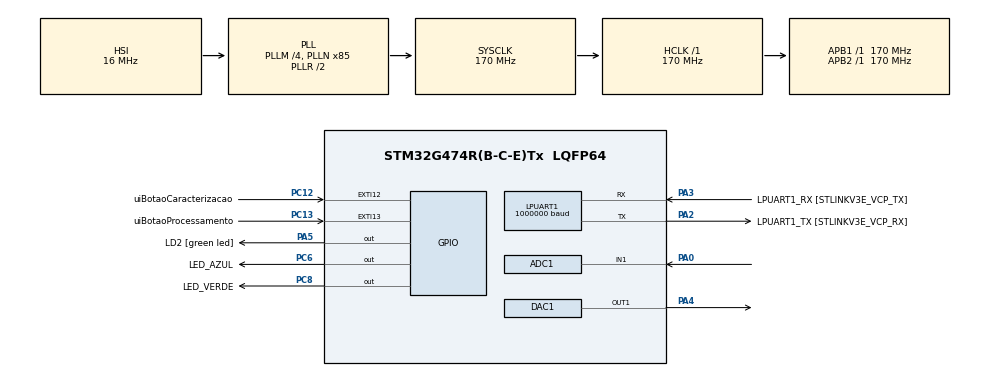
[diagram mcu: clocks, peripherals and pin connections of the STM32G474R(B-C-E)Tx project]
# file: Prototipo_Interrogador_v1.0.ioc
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ADC1.Channel-0\#ChannelRegularConversion=ADC_CHANNEL_1
ADC1.NbrOfConversionFlag=1
ADC1.OffsetNumber-0\#ChannelRegularConversion=ADC_OFFSET_NONE
ADC1.Rank-0\#ChannelRegularConversion=1
ADC1.SamplingTime-0\#ChannelRegularConversion=ADC_SAMPLETIME_2CYCLES_5
ADC1.master=1
DAC1.DAC_HighFrequency_OUT1-DAC_OUT1_ExtAndInt=DAC_HIGH_FREQUENCY_INTERFACE_MODE_DISABLE
FREERTOS.Queues01=filaVarredura,10,DADOS_VARREDURA_OBJ_t,0,Dynamic,NULL,NULL;filaValorInterrogado,10,VALOR_INTERROGADO_OBJ_t,0,Dynamic,NULL,NULL;filaCaracterizacao,10,DADOS_VARREDURA_OBJ_t,0,Dynamic,NULL,NULL
FREERTOS.Tasks01=calculoComprimentoOndaBragg,40,1024,startCalculoComprimentoOndaBragg,Default,NULL,Dynamic,NULL,NULL;caracterizacaoDoEspectro,41,1024,startCaracterizacaoDoEspectro,Default,NULL,Dynamic,NULL,NULL;transmissaoDeDadosPC,24,1024,startTransmissaoDeDadosPC,Default,NULL,Dynamic,NULL,NULL
FREERTOS.configMAX_TASK_NAME_LEN=32
FREERTOS.configTOTAL_HEAP_SIZE=65536
LPUART1.BaudRate=1000000
LPUART1.WordLength=UART_WORDLENGTH_8B
Mcu.Family=STM32G4
Mcu.Name=STM32G474R(B-C-E)Tx
Mcu.Package=LQFP64
NVIC.EXTI15_10_IRQn=true\:6\:0\:true\:false\:true\:false\:true\:true
NVIC.PriorityGroup=NVIC_PRIORITYGROUP_4
NVIC.TIM1_UP_TIM16_IRQn=true\:5\:0\:true\:false\:true\:true\:true\:true
NVIC.TIM7_DAC_IRQn=true\:0\:0\:false\:false\:true\:false\:false\:true
NVIC.TimeBase=TIM7_DAC_IRQn
NVIC.TimeBaseIP=TIM7
PA0.Mode=IN1-Single-Ended
PA0.Signal=ADC1_IN1
PA13.GPIO_Label=T_SWDIO
PA13.Mode=Serial_Wire
PA13.Signal=SYS_JTMS-SWDIO
PA14.GPIO_Label=T_SWCLK
PA14.Mode=Serial_Wire
PA14.Signal=SYS_JTCK-SWCLK
PA2.GPIO_Label=LPUART1_TX [STLINKV3E_VCP_RX]
PA2.Mode=Asynchronous
PA2.Signal=LPUART1_TX
PA3.GPIO_Label=LPUART1_RX [STLINKV3E_VCP_TX]
PA3.Mode=Asynchronous
PA3.Signal=LPUART1_RX
PA4.Signal=COMP_DAC11_group
PA5.GPIO_Label=LD2 [green led]
PA5.Signal=GPIO_Output
PB3.GPIO_Label=T_SWO
PB3.Signal=SYS_JTDO-SWO
PC12.GPIO_Label=uiBotaoCaracterizacao
PC12.Signal=GPXTI12
PC13.GPIO_Label=uiBotaoProcessamento
PC13.Signal=GPXTI13
PC14-OSC32_IN.Mode=LSE-External-Oscillator
PC14-OSC32_IN.Signal=RCC_OSC32_IN
PC15-OSC32_OUT.Mode=LSE-External-Oscillator
PC15-OSC32_OUT.Signal=RCC_OSC32_OUT
PC6.GPIO_Label=LED_AZUL
PC6.Signal=GPIO_Output
PC8.GPIO_Label=LED_VERDE
PC8.Signal=GPIO_Output
PF0-OSC_IN.Mode=HSE-External-Oscillator
PF0-OSC_IN.Signal=RCC_OSC_IN
PF1-OSC_OUT.Mode=HSE-External-Oscillator
PF1-OSC_OUT.Signal=RCC_OSC_OUT
ProjectManager.HeapSize=0x200
ProjectManager.StackSize=0x400
ProjectManager.TargetToolchain=STM32CubeIDE
RCC.ADC12Freq_Value=170000000
RCC.ADC345Freq_Value=170000000
RCC.AHBFreq_Value=170000000
RCC.APB1Freq_Value=170000000
RCC.APB1TimFreq_Value=170000000
RCC.APB2Freq_Value=170000000
RCC.APB2TimFreq_Value=170000000
RCC.CortexFreq_Value=170000000
RCC.EXTERNAL_CLOCK_VALUE=12288000
RCC.HCLKFreq_Value=170000000
RCC.HSE_VALUE=24000000
RCC.HSI48_VALUE=48000000
RCC.HSI_VALUE=16000000
RCC.PLLM=RCC_PLLM_DIV4
RCC.PLLN=85
RCC.RTCClockSelection=RCC_RTCCLKSOURCE_LSE
RCC.SYSCLKFreq_VALUE=170000000
RCC.SYSCLKSource=RCC_SYSCLKSOURCE_PLLCLK
RCC.USBFreq_Value=170000000
RCC.VCOOutputFreq_Value=340000000
SH.COMP_DAC11_group.0=DAC1_OUT1,DAC_OUT1_ExtAndInt
TIM16.PeriodNoDither=10000-1
TIM16.Prescaler=17000-1
TIM17.PeriodNoDither=0xffff-1
TIM17.Prescaler=170-1
VP_FREERTOS_VS_CMSIS_V2.Mode=CMSIS_V2
VP_SYS_VS_DBSignals.Mode=DisableDeadBatterySignals
VP_SYS_VS_tim7.Mode=TIM7
VP_TIM16_VS_ClockSourceINT.Mode=Enable_Timer
VP_TIM17_VS_ClockSourceINT.Mode=Enable_Timer
board=NUCLEO-G474RE

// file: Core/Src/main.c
/* USER CODE BEGIN Header */
/**
  ******************************************************************************
  * @file           : main.c
  * @brief          : Main program body
  ******************************************************************************
  * @attention
  *
  * <h2><center>&copy; Copyright (c) 2020 STMicroelectronics.
  * All rights reserved.</center></h2>
  *
  * This software component is licensed by ST under BSD 3-Clause license,
  * the "License"; You may not use this file except in compliance with the
  * License. You may obtain a copy of the License at:
  *                        opensource.org/licenses/BSD-3-Clause
  *
  ******************************************************************************
  */
/* USER CODE END Header */
#include "main.h"
#include "cmsis_os.h"

/* USER CODE BEGIN Includes */
#include <string.h>
#include <stdio.h>
/* USER CODE END Includes */

/* USER CODE BEGIN PD */
#define OPERACAO_SENSORIAMENTO 0x00001
#define OPERACAO_CARACTERIZACAO 0x00002
#define INICIA_VARREDURA 0x00003
#define RESOLUCAO_DAC 4096
#define TAM_MSG 20
#define DELAY_MICROSECONDS 100
#define FLAG_PRIMEIRA_AMOSTRA 9000
#define LIMIAR_POTENCIA_NULA 682
#define TAM_ARRAY_AMOSTRAS 400

#define TAM_X 65
#define TAM_Y 129
//#define DELAY_MICROSECONDS 25
/* USER CODE END PD */

ADC_HandleTypeDef hadc1;

DAC_HandleTypeDef hdac1;

UART_HandleTypeDef hlpuart1;

TIM_HandleTypeDef htim16;
TIM_HandleTypeDef htim17;

/* Definitions for calculoComprimentoOndaBragg */
osThreadId_t calculoComprimentoOndaBraggHandle;
const osThreadAttr_t calculoComprimentoOndaBragg_attributes = {
  .name = "calculoComprimentoOndaBragg",
  .priority = (osPriority_t) osPriorityHigh,
  .stack_size = 1024 * 4
};
/* Definitions for caracterizacaoDoEspectro */
osThreadId_t caracterizacaoDoEspectroHandle;
const osThreadAttr_t caracterizacaoDoEspectro_attributes = {
  .name = "caracterizacaoDoEspectro",
  .priority = (osPriority_t) osPriorityHigh1,
  .stack_size = 1024 * 4
};
/* Definitions for transmissaoDeDadosPC */
osThreadId_t transmissaoDeDadosPCHandle;
const osThreadAttr_t transmissaoDeDadosPC_attributes = {
  .name = "transmissaoDeDadosPC",
  .priority = (osPriority_t) osPriorityNormal,
  .stack_size = 1024 * 4
};
/* Definitions for filaVarredura */
osMessageQueueId_t filaVarreduraHandle;
const osMessageQueueAttr_t filaVarredura_attributes = {
  .name = "filaVarredura"
};
/* Definitions for filaValorInterrogado */
osMessageQueueId_t filaValorInterrogadoHandle;
const osMessageQueueAttr_t filaValorInterrogado_attributes = {
  .name = "filaValorInterrogado"
};
/* Definitions for filaCaracterizacao */
osMessageQueueId_t filaCaracterizacaoHandle;
const osMessageQueueAttr_t filaCaracterizacao_attributes = {
  .name = "filaCaracterizacao"
};
/* USER CODE BEGIN PV */
/* Declara o objeto RTOS sinalEventFlag */
osEventFlagsId_t sinalEventFlag;

typedef struct {
  char cSentidoVarredura;
  uint16_t uiIndicePrimeiraAmostra, uiNumAmostrasColetadas, uiArrayAmostras[TAM_ARRAY_AMOSTRAS];
} DADOS_VARREDURA_OBJ_t;

typedef struct {
  char cSentidoVarredura;
  uint16_t uiValorInterrogado;
} VALOR_INTERROGADO_OBJ_t;
/* USER CODE END PV */

void SystemClock_Config(void);
static void MX_GPIO_Init(void);
static void MX_LPUART1_UART_Init(void);
static void MX_TIM16_Init(void);
static void MX_ADC1_Init(void);
static void MX_DAC1_Init(void);
static void MX_TIM17_Init(void);
void startCalculoComprimentoOndaBragg(void *argument);
void startCaracterizacaoDoEspectro(void *argument);
void startTransmissaoDeDadosPC(void *argument);

int main(void)
{

  /* MCU Configuration--------------------------------------------------------*/

  /* Reset of all peripherals, Initializes the Flash interface and the Systick. */
  HAL_Init();

  /* Configure the system clock */
  SystemClock_Config();

  /* Initialize all configured peripherals */
  MX_GPIO_Init();
  MX_LPUART1_UART_Init();
  MX_TIM16_Init();
  MX_ADC1_Init();
  MX_DAC1_Init();
  MX_TIM17_Init();
  /* USER CODE BEGIN 2 */

  //Inicia timer 16
  HAL_TIM_Base_Start_IT(&htim16);

  /* USER CODE END 2 */

  /* Init scheduler */
  osKernelInitialize();

  /* Create the queue(s) */
  /* creation of filaVarredura */
  filaVarreduraHandle = osMessageQueueNew (10, sizeof(DADOS_VARREDURA_OBJ_t), &filaVarredura_attributes);

  /* creation of filaValorInterrogado */
  filaValorInterrogadoHandle = osMessageQueueNew (10, sizeof(VALOR_INTERROGADO_OBJ_t), &filaValorInterrogado_attributes);

  /* creation of filaCaracterizacao */
  filaCaracterizacaoHandle = osMessageQueueNew (10, sizeof(DADOS_VARREDURA_OBJ_t), &filaCaracterizacao_attributes);

  /* Create the thread(s) */
  /* creation of calculoComprimentoOndaBragg */
  calculoComprimentoOndaBraggHandle = osThreadNew(startCalculoComprimentoOndaBragg, NULL, &calculoComprimentoOndaBragg_attributes);

  /* creation of caracterizacaoDoEspectro */
  caracterizacaoDoEspectroHandle = osThreadNew(startCaracterizacaoDoEspectro, NULL, &caracterizacaoDoEspectro_attributes);

  /* creation of transmissaoDeDadosPC */
  transmissaoDeDadosPCHandle = osThreadNew(startTransmissaoDeDadosPC, NULL, &transmissaoDeDadosPC_attributes);

  /* USER CODE BEGIN RTOS_THREADS */
  /* add threads, ... */
  /* Inicializa o objeto RTOS Event Flag*/
  sinalEventFlag = osEventFlagsNew(NULL);
  /* USER CODE END RTOS_THREADS */

  /* Start scheduler */
  osKernelStart();

  /* We should never get here as control is now taken by the scheduler */
  /* Infinite loop */
  while (1)
  {

  }
}

void SystemClock_Config(void)
{
  RCC_OscInitTypeDef RCC_OscInitStruct = {0};
  RCC_ClkInitTypeDef RCC_ClkInitStruct = {0};
  RCC_PeriphCLKInitTypeDef PeriphClkInit = {0};

  /** Configure the main internal regulator output voltage
  */
  HAL_PWREx_ControlVoltageScaling(PWR_REGULATOR_VOLTAGE_SCALE1_BOOST);
  /** Initializes the RCC Oscillators according to the specified parameters
  * in the RCC_OscInitTypeDef structure.
  */
  RCC_OscInitStruct.OscillatorType = RCC_OSCILLATORTYPE_HSI;
  RCC_OscInitStruct.HSIState = RCC_HSI_ON;
  RCC_OscInitStruct.HSICalibrationValue = RCC_HSICALIBRATION_DEFAULT;
  RCC_OscInitStruct.PLL.PLLState = RCC_PLL_ON;
  RCC_OscInitStruct.PLL.PLLSource = RCC_PLLSOURCE_HSI;
  RCC_OscInitStruct.PLL.PLLM = RCC_PLLM_DIV4;
  RCC_OscInitStruct.PLL.PLLN = 85;
  RCC_OscInitStruct.PLL.PLLP = RCC_PLLP_DIV2;
  RCC_OscInitStruct.PLL.PLLQ = RCC_PLLQ_DIV2;
  RCC_OscInitStruct.PLL.PLLR = RCC_PLLR_DIV2;
  if (HAL_RCC_OscConfig(&RCC_OscInitStruct) != HAL_OK)
  {
    Error_Handler();
  }
  /** Initializes the CPU, AHB and APB buses clocks
  */
  RCC_ClkInitStruct.ClockType = RCC_CLOCKTYPE_HCLK|RCC_CLOCKTYPE_SYSCLK
                              |RCC_CLOCKTYPE_PCLK1|RCC_CLOCKTYPE_PCLK2;
  RCC_ClkInitStruct.SYSCLKSource = RCC_SYSCLKSOURCE_PLLCLK;
  RCC_ClkInitStruct.AHBCLKDivider = RCC_SYSCLK_DIV1;
  RCC_ClkInitStruct.APB1CLKDivider = RCC_HCLK_DIV1;
  RCC_ClkInitStruct.APB2CLKDivider = RCC_HCLK_DIV1;

  if (HAL_RCC_ClockConfig(&RCC_ClkInitStruct, FLASH_LATENCY_4) != HAL_OK)
  {
    Error_Handler();
  }
  /** Initializes the peripherals clocks
  */
  PeriphClkInit.PeriphClockSelection = RCC_PERIPHCLK_LPUART1|RCC_PERIPHCLK_ADC12;
  PeriphClkInit.Lpuart1ClockSelection = RCC_LPUART1CLKSOURCE_PCLK1;
  PeriphClkInit.Adc12ClockSelection = RCC_ADC12CLKSOURCE_SYSCLK;
  if (HAL_RCCEx_PeriphCLKConfig(&PeriphClkInit) != HAL_OK)
  {
    Error_Handler();
  }
}

static void MX_ADC1_Init(void)
{

  ADC_MultiModeTypeDef multimode = {0};
  ADC_ChannelConfTypeDef sConfig = {0};

  /** Common config
  */
  hadc1.Instance = ADC1;
  hadc1.Init.ClockPrescaler = ADC_CLOCK_SYNC_PCLK_DIV4;
  hadc1.Init.Resolution = ADC_RESOLUTION_12B;
  hadc1.Init.DataAlign = ADC_DATAALIGN_RIGHT;
  hadc1.Init.GainCompensation = 0;
  hadc1.Init.ScanConvMode = ADC_SCAN_DISABLE;
  hadc1.Init.EOCSelection = ADC_EOC_SINGLE_CONV;
  hadc1.Init.LowPowerAutoWait = DISABLE;
  hadc1.Init.ContinuousConvMode = DISABLE;
  hadc1.Init.NbrOfConversion = 1;
  hadc1.Init.DiscontinuousConvMode = DISABLE;
  hadc1.Init.ExternalTrigConv = ADC_SOFTWARE_START;
  hadc1.Init.ExternalTrigConvEdge = ADC_EXTERNALTRIGCONVEDGE_NONE;
  hadc1.Init.DMAContinuousRequests = DISABLE;
  hadc1.Init.Overrun = ADC_OVR_DATA_PRESERVED;
  hadc1.Init.OversamplingMode = DISABLE;
  if (HAL_ADC_Init(&hadc1) != HAL_OK)
  {
    Error_Handler();
  }
  /** Configure the ADC multi-mode
  */
  multimode.Mode = ADC_MODE_INDEPENDENT;
  if (HAL_ADCEx_MultiModeConfigChannel(&hadc1, &multimode) != HAL_OK)
  {
    Error_Handler();
  }
  /** Configure Regular Channel
  */
  sConfig.Channel = ADC_CHANNEL_1;
  sConfig.Rank = ADC_REGULAR_RANK_1;
  sConfig.SamplingTime = ADC_SAMPLETIME_2CYCLES_5;
  sConfig.SingleDiff = ADC_SINGLE_ENDED;
  sConfig.OffsetNumber = ADC_OFFSET_NONE;
  sConfig.Offset = 0;
  if (HAL_ADC_ConfigChannel(&hadc1, &sConfig) != HAL_OK)
  {
    Error_Handler();
  }

}

static void MX_DAC1_Init(void)
{

  DAC_ChannelConfTypeDef sConfig = {0};

  /** DAC Initialization
  */
  hdac1.Instance = DAC1;
  if (HAL_DAC_Init(&hdac1) != HAL_OK)
  {
    Error_Handler();
  }
  /** DAC channel OUT1 config
  */
  sConfig.DAC_HighFrequency = DAC_HIGH_FREQUENCY_INTERFACE_MODE_DISABLE;
  sConfig.DAC_DMADoubleDataMode = DISABLE;
  sConfig.DAC_SignedFormat = DISABLE;
  sConfig.DAC_SampleAndHold = DAC_SAMPLEANDHOLD_DISABLE;
  sConfig.DAC_Trigger = DAC_TRIGGER_NONE;
  sConfig.DAC_Trigger2 = DAC_TRIGGER_NONE;
  sConfig.DAC_OutputBuffer = DAC_OUTPUTBUFFER_ENABLE;
  sConfig.DAC_ConnectOnChipPeripheral = DAC_CHIPCONNECT_BOTH;
  sConfig.DAC_UserTrimming = DAC_TRIMMING_FACTORY;
  if (HAL_DAC_ConfigChannel(&hdac1, &sConfig, DAC_CHANNEL_1) != HAL_OK)
  {
    Error_Handler();
  }

}

static void MX_LPUART1_UART_Init(void)
{

  hlpuart1.Instance = LPUART1;
  hlpuart1.Init.BaudRate = 1000000;
  hlpuart1.Init.WordLength = UART_WORDLENGTH_8B;
  hlpuart1.Init.StopBits = UART_STOPBITS_1;
  hlpuart1.Init.Parity = UART_PARITY_NONE;
  hlpuart1.Init.Mode = UART_MODE_TX_RX;
  hlpuart1.Init.HwFlowCtl = UART_HWCONTROL_NONE;
  hlpuart1.Init.OneBitSampling = UART_ONE_BIT_SAMPLE_DISABLE;
  hlpuart1.AdvancedInit.AdvFeatureInit = UART_ADVFEATURE_NO_INIT;
  if (HAL_UART_Init(&hlpuart1) != HAL_OK)
  {
    Error_Handler();
  }
  if (HAL_UARTEx_SetTxFifoThreshold(&hlpuart1, UART_TXFIFO_THRESHOLD_1_8) != HAL_OK)
  {
    Error_Handler();
  }
  if (HAL_UARTEx_SetRxFifoThreshold(&hlpuart1, UART_RXFIFO_THRESHOLD_1_8) != HAL_OK)
  {
    Error_Handler();
  }
  if (HAL_UARTEx_DisableFifoMode(&hlpuart1) != HAL_OK)
  {
    Error_Handler();
  }

}

static void MX_TIM16_Init(void)
{

  htim16.Instance = TIM16;
  htim16.Init.Prescaler = 17000-1;
  htim16.Init.CounterMode = TIM_COUNTERMODE_UP;
  htim16.Init.Period = 9999;
  htim16.Init.ClockDivision = TIM_CLOCKDIVISION_DIV1;
  htim16.Init.RepetitionCounter = 0;
  htim16.Init.AutoReloadPreload = TIM_AUTORELOAD_PRELOAD_DISABLE;
  if (HAL_TIM_Base_Init(&htim16) != HAL_OK)
  {
    Error_Handler();
  }

}

static void MX_TIM17_Init(void)
{

  htim17.Instance = TIM17;
  htim17.Init.Prescaler = 170-1;
  htim17.Init.CounterMode = TIM_COUNTERMODE_UP;
  htim17.Init.Period = 65534;
  htim17.Init.ClockDivision = TIM_CLOCKDIVISION_DIV1;
  htim17.Init.RepetitionCounter = 0;
  htim17.Init.AutoReloadPreload = TIM_AUTORELOAD_PRELOAD_DISABLE;
  if (HAL_TIM_Base_Init(&htim17) != HAL_OK)
  {
    Error_Handler();
  }

}

static void MX_GPIO_Init(void)
{
  GPIO_InitTypeDef GPIO_InitStruct = {0};

  /* GPIO Ports Clock Enable */
  __HAL_RCC_GPIOC_CLK_ENABLE();
  __HAL_RCC_GPIOF_CLK_ENABLE();
  __HAL_RCC_GPIOA_CLK_ENABLE();
  __HAL_RCC_GPIOB_CLK_ENABLE();

  /*Configure GPIO pin Output Level */
  HAL_GPIO_WritePin(LD2_GPIO_Port, LD2_Pin, GPIO_PIN_RESET);

  /*Configure GPIO pin Output Level */
  HAL_GPIO_WritePin(GPIOC, LED_AZUL_Pin|LED_VERDE_Pin, GPIO_PIN_RESET);

  /*Configure GPIO pins : uiBotaoProcessamento_Pin uiBotaoCaracterizacao_Pin */
  GPIO_InitStruct.Pin = uiBotaoProcessamento_Pin|uiBotaoCaracterizacao_Pin;
  GPIO_InitStruct.Mode = GPIO_MODE_IT_RISING;
  GPIO_InitStruct.Pull = GPIO_NOPULL;
  HAL_GPIO_Init(GPIOC, &GPIO_InitStruct);

  /*Configure GPIO pin : LD2_Pin */
  GPIO_InitStruct.Pin = LD2_Pin;
  GPIO_InitStruct.Mode = GPIO_MODE_OUTPUT_PP;
  GPIO_InitStruct.Pull = GPIO_NOPULL;
  GPIO_InitStruct.Speed = GPIO_SPEED_FREQ_LOW;
  HAL_GPIO_Init(LD2_GPIO_Port, &GPIO_InitStruct);

  /*Configure GPIO pins : LED_AZUL_Pin LED_VERDE_Pin */
  GPIO_InitStruct.Pin = LED_AZUL_Pin|LED_VERDE_Pin;
  GPIO_InitStruct.Mode = GPIO_MODE_OUTPUT_PP;
  GPIO_InitStruct.Pull = GPIO_NOPULL;
  GPIO_InitStruct.Speed = GPIO_SPEED_FREQ_LOW;
  HAL_GPIO_Init(GPIOC, &GPIO_InitStruct);

  /* EXTI interrupt init*/
  HAL_NVIC_SetPriority(EXTI15_10_IRQn, 6, 0);
  HAL_NVIC_EnableIRQ(EXTI15_10_IRQn);

}

/* USER CODE BEGIN 4 */
/* ******************************************************/
/* Nome da ISR: Seleção de operação do interrogador     */
/* Descrição da ISR:   Chamada de interrupção de GPIO   */
/*                     utilizada para selecionar as ta- */
/*                     refas de processamento ou carac- */
/*                     terização.                       */
/* Parâmetros de entrada: GPIO_Pin                      */
/* é o pino detectado pela interrupção externa do micro-*/
/* controlador.                                         */
/* Parâmetros de saída: não tem                         */
/* ******************************************************/
void HAL_GPIO_EXTI_Callback(uint16_t GPIO_Pin)
{
  if (uiBotaoProcessamento_Pin == GPIO_Pin)
  {
	HAL_GPIO_WritePin(GPIOC, LED_AZUL_Pin, GPIO_PIN_RESET);
	HAL_GPIO_WritePin(GPIOC, LED_VERDE_Pin, GPIO_PIN_SET);
	/*Limpa o Event Flag da operação de caracterização e coloca a tarefa startCaracterizacaoDoEspectro para dormir*/
    osEventFlagsClear(sinalEventFlag, OPERACAO_CARACTERIZACAO);
    /*Seta o Event Flag da operação de sensoriamento e acorda a tarefa startCalculoComprimentoOndaBragg*/
	osEventFlagsSet(sinalEventFlag, OPERACAO_SENSORIAMENTO);
  }
  else if (uiBotaoCaracterizacao_Pin == GPIO_Pin)
  {
	HAL_GPIO_WritePin(GPIOC, LED_VERDE_Pin, GPIO_PIN_RESET);
	HAL_GPIO_WritePin(GPIOC, LED_AZUL_Pin, GPIO_PIN_SET);
	/*Limpa o Event Flag da operação de sensoriamento e coloca a tarefa startCalculoComprimentoOndaBragg para dormir*/
    osEventFlagsClear(sinalEventFlag, OPERACAO_SENSORIAMENTO);
    /*Seta o Event Flag da operação de caracterização e acorda a tarefa startCaracterizacaoDoEspectro*/
    osEventFlagsSet(sinalEventFlag, OPERACAO_CARACTERIZACAO);
  }
}
/* USER CODE END 4 */

/* USER CODE BEGIN Header_startCalculoComprimentoOndaBragg */
/* ******************************************************/
/* Nome da Tarefa: Cálculo do comprimento de onda de    */
/* Bragg												*/
/* Descrição da Tarefa: Recebe dado na Struct           */
/* DADOS_VARREDURA_OBJ_t via message queue, que contém  */
/* as amostras do sinal de potencia refletido, posição  */
/* da primeira amostra, número de amostras e sentido da */
/* varredura. Com esses dados rastreia o ponto de máxima*/
/* potência de reflexão e obtém o comprimento de onda da*/
/* fbg sensora.											*/
/* Parâmetros de entrada: Recebe via fila de mensagens  */
/* filaVarreduraHandle, os dados da rotina de           */
/* interrupção de varredura e os armazena na Struct     */
/* arrayVarredura                                       */
/* Parâmetros de saída: fila de mensagens dada por      */
/* filaValorInterrogadoHandle onde é carregada a Struct */
/* resultadoInterrogacao                                */
/* ******************************************************/
/* USER CODE END Header_startCalculoComprimentoOndaBragg */
void startCalculoComprimentoOndaBragg(void *argument)
{
  /* USER CODE BEGIN 5 */
  /*Declara Struct de dado que irá receber via fila de mensagens os dados da rotina de interrupção de varredura*/
  DADOS_VARREDURA_OBJ_t arrayVarredura;
  /*Declara Struct de dado que irá receber resultado da interrogação de comprimento de onda do Struct de varredura*/
  VALOR_INTERROGADO_OBJ_t resultadoInterrogacao;
  /*Declaração de variáveis auxiliares, uiDataMax será usado como valor máximo de referência e uiValorInterrogado como variável para capturar comprimento de onda máximo*/
  uint16_t uiDataMax, uiValorInterrogado;
  /*Variável que recebe situação da fila de mensagens para verificar se a fila está disponível*/
  osStatus_t status;
  /* Infinite loop */
  for(;;)
  { /*Aguarda a tarefa ser acordada por event flag, que no caso será disparado por interrupção de GPIO do pino PC13*/
    osEventFlagsWait(sinalEventFlag, OPERACAO_SENSORIAMENTO, osFlagsNoClear, osWaitForever);
    /*Carrega status da fila de mensagens e verifica a disponibilidade de elementos na fila*/
    status = osMessageQueueGet(filaVarreduraHandle, &arrayVarredura, NULL, 0U);
    if (osOK == status)
    { /*Inicializa uiDataMax com menor valor possível do comprimento de onda relativo*/
      uiDataMax = 0;
      /*Busca por valor de comprimento de onda relativo, associado a valor de máxima potência de convolução do espectro refletido*/
	  for (uint16_t uiI = 0; arrayVarredura.uiNumAmostrasColetadas > uiI; uiI++)
	  { /*Carrega uiData com valor do uiArrayAmostras na posição uiI*/
	    uint16_t uiData = arrayVarredura.uiArrayAmostras[uiI];
	    /*Verifica se uiData é maior, caso positivo atualiza uiDataMax e salva uiI em uiValorInterrogado*/
	    if(uiDataMax < uiData)
	    {
	      uiDataMax = uiData;
	      uiValorInterrogado = uiI;
	    }
	  }
	  /*Verifica sentido do struct de varredura recebido se crescente a translação para obter o valor do comprimento de onda absoluto é uma soma com o uiIndicePrimeiraAmostra que é o comprimento de onda de referência, no caso da varredura decrescente é uma subtração entre o comprimento de onda de referência e o comprimento de onda relativo*/
	  if ('c' == arrayVarredura.cSentidoVarredura)
	  {
	    uiValorInterrogado = uiValorInterrogado + arrayVarredura.uiIndicePrimeiraAmostra;
	  }
	  else
	  {
	    uiValorInterrogado = arrayVarredura.uiIndicePrimeiraAmostra - uiValorInterrogado;
	  }
	  /*Armazena sentido da varredura na variável Struct VALOR_INTERROGADO_OBJ_t chamada resultadoInterrogacao*/
	  resultadoInterrogacao.cSentidoVarredura = arrayVarredura.cSentidoVarredura;
	  /*Armazena o comprimento de onda absoluto em resultadoInterrogacao*/
	  resultadoInterrogacao.uiValorInterrogado = uiValorInterrogado;
	  /*Armazena a Struct resultadoInterrogacao na fila de mensagens filaValorInterrogadoHandle, que será recebida na tarefa de Transmissão de dados PC*/
	  osMessageQueuePut(filaValorInterrogadoHandle, &resultadoInterrogacao, 0U, 0U);
    }
    osDelay(1);
  }
  /* USER CODE END 5 */
}

/* USER CODE BEGIN Header_startCaracterizacaoDoEspectro */
/* ******************************************************/
/* Nome da Tarefa: Caracterização do espectro da fbg    */
/* sensora                                              */
/* Descrição da Tarefa: Obtenção do perfil espectral de */
/* potência da fbg sensora através de varredura e       */
/* amostragem do espectro de convolução resultante e    */
/* calculado por meio da deconvolução com as amostras da*/
/* fbg sintonizável e amostragem da convolução          */
/* proveniente do dado na Struct DADOS_VARREDURA_OBJ_t. */
/* Parâmetros de entrada: Recebe via fila de mensagens  */
/* filaVarreduraHandle, os dados da rotina de           */
/* interrupção de varredura e os armazena na variável   */
/* arrayVarredura do tipo Struct DADOS_VARREDURA_OBJ_t  */
/* Parâmetros de saída: fila de mensagens dada por      */
/* filaCaracterizacaoHandle onde é carregada a  variável*/
/* Struct arrayVarredura após receber o espectro da FBG */
/* sensora                                              */
/* ******************************************************/
/* USER CODE END Header_startCaracterizacaoDoEspectro */
void startCaracterizacaoDoEspectro(void *argument)
{
  /* USER CODE BEGIN startCaracterizacaoDoEspectro */
  /*Declara Struct de dado que irá receber via fila de mensagens os dados da rotina de interrupção de varredura*/
  DADOS_VARREDURA_OBJ_t arrayVarredura;
  /*Declara e inicializa o array a seguir com as amostras da FBG sintonizável*/
  float fFbgSintonizavel[TAM_X] = {  1, 1, 2, 2, 3, 4, 5, 6, 8, 10, 13, 16, 19, 23, 27,
	                        		  32, 38, 44, 50, 57, 64, 72, 79, 87, 94, 101, 108, 114,
	                                  119, 123, 126, 127, 128, 127, 126, 123, 119, 114, 108,
	                                  101, 94, 87, 79, 72, 64, 57, 50, 44, 38, 32, 27, 23, 19,
	                                  16, 13, 10, 8, 6, 5, 4, 3, 2, 2, 1, 1
	  	  	  	  	  	              };
  /*inicializa o array da FBG sensora*/
  float fFbgSensora[TAM_X];
  /*inicializa o array do espectro de convolução que irá receber o espectro de convolução de arrayVarredura, mas passará por uma mudança de escala, para ficar na mesma escala de fFbgSintonizavel*/
  float fConvolucaoEspectros[TAM_Y];
  /*Variável que recebe situação da fila de mensagens para verificar se a fila está disponível*/
  osStatus_t status;
  /* Infinite loop */
  for(;;)
  { /*Aguarda a tarefa ser acordada por event flag, que no caso será disparado por interrupção de GPIO do pino PC12*/
	osEventFlagsWait(sinalEventFlag, OPERACAO_CARACTERIZACAO, osFlagsNoClear, osWaitForever);
	/*Carrega status da fila de mensagens e verifica a disponibilidade de elementos na fila*/
	status = osMessageQueueGet(filaVarreduraHandle, &arrayVarredura, NULL, 0U);
	if (osOK == status)
	{ /*Inicializa uiDataMax com menor valor possível do comprimento de onda relativo*/
	  uint16_t uiDataMax = 0;
	  /* uiImax é uma variável para capturar comprimento de onda máximo*/
	  uint16_t uiImax = 0;
	  /*Carrega espectro de convolução da reflexão das FBG's em fConvolucaoEspectros, mas antes efetua sua mudança de escala, para a mesma escala de fFbgSintonizavel*/
	  for (uint8_t uiI = 0; TAM_Y > uiI; uiI++)
	  {
	    uint16_t uiData = arrayVarredura.uiArrayAmostras[uiI];
		fConvolucaoEspectros[uiI] = (float) (uiData - 682.0) * (297462.0 / 3412.0);
		if(uiDataMax < uiData)  /*Busca por valor de comprimento de onda relativo, associado a valor de máxima potência de convolução do espectro refletido*/
		{
		  uiDataMax = uiData;
		  uiImax = uiI;
		}
	  }
	  if ('c' == arrayVarredura.cSentidoVarredura) /*Atualiza índice de primeira amostra para as varreduras crescente e descrescente para ser ajustado em relação a largura de banda do espectro da FBG sensora*/
	  {
	    uint16_t uiImaxLocalVerdadeiro = uiImax + arrayVarredura.uiIndicePrimeiraAmostra;
		arrayVarredura.uiIndicePrimeiraAmostra = uiImaxLocalVerdadeiro - (TAM_X -1 ) / 2;
	  }
	  else
	  {
	    uint16_t uiImaxLocalVerdadeiro = arrayVarredura.uiIndicePrimeiraAmostra - uiImax;
		arrayVarredura.uiIndicePrimeiraAmostra = uiImaxLocalVerdadeiro + (TAM_X -1 ) / 2;
	  }
	  /*No código a seguir entre as linhas 737 e 750 está a implementação do algoritmo de Deconvolução*/
	  uint8_t uiK = 0;
	  fFbgSensora[0] = fConvolucaoEspectros[0] / fFbgSintonizavel[0];
	  while (TAM_Y - TAM_X + 1 > uiK)
	  {
	    uiK++;
		uint8_t uiJ = 1;
		float fRetropropagacao = 0;
		while (uiK + 1 > uiJ)
		{
		  fRetropropagacao = fRetropropagacao + fFbgSensora[uiK - uiJ] * fFbgSintonizavel[uiJ];
		  uiJ++;
		}
		fFbgSensora[uiK] = (fConvolucaoEspectros[uiK] - fRetropropagacao) / fFbgSintonizavel[0];
	   }
	   for (uint16_t uiI = 0; TAM_X > uiI; uiI++)
	   { /*Realiza o casting dos valores float obtidos da fFbgSensora por meio da convolução para o tipo uint16_t*/
	     arrayVarredura.uiArrayAmostras[uiI]	= (uint16_t) fFbgSensora[uiI];
	   }
	   arrayVarredura.uiNumAmostrasColetadas = TAM_X;
	   /*Carrega o valor caracterizado na fila de mensagens filaCaracterizacaoHandle depois de colocar em arrayVarredura*/
	   osMessageQueuePut(filaCaracterizacaoHandle, &arrayVarredura, 0U, 0U);
	}
    osDelay(1);
  }
  /* USER CODE END startCaracterizacaoDoEspectro */
}

/* USER CODE BEGIN Header_startTransmissaoDeDadosPC */
/* ******************************************************/
/* Nome da Tarefa: Transmissão de dados PC              */
/* Descrição da Tarefa: Envio dos dados de deslocamento */
/* de comprimento de onda e espectro caracterizado      */
/* obtidos através das tarefas do interrogador para     */
/* exibição em computador.                              */
/* Parâmetros de entrada: recebe dados de duas filas de */
/* mensagens distintas filaValorInterrogadoHandle e     */
/* filaCaracterizacaoHandle.                            */
/* Parâmetros de saída: Envia dados pela UART para      */
/* outro dispositivo.                                   */
/* ******************************************************/
/* USER CODE END Header_startTransmissaoDeDadosPC */
void startTransmissaoDeDadosPC(void *argument)
{
  /* USER CODE BEGIN startTransmissaoDeDadosPC */
  /* Inicializa as variáveis structs que irão receber os dados das filas de mensagem*/
  DADOS_VARREDURA_OBJ_t arrayCaracterizacao;
  VALOR_INTERROGADO_OBJ_t resultadoInterrogacao;
  /* Variáveis do tipo caractere que irão ser utilizadas para transmisão dos dados via uart*/
  char cMsg[TAM_MSG], cOperacao, cFimPacote;
  osStatus_t status;
  /* Infinite loop */
  for(;;)
  { /*Captura qual tarefa está acordada e seleciona qual rotina de transmissão irá utilizar para enviar os dados*/
    uint8_t uiFlags = osEventFlagsGet(sinalEventFlag);
	if (OPERACAO_SENSORIAMENTO == uiFlags)
	{ /*Transmissão dos dados da tarefa de Cálculo do comprimento de onda de Bragg*/
	  status = osMessageQueueGet(filaValorInterrogadoHandle, &resultadoInterrogacao, NULL, 0U);
	  if (osOK == status)
	  {
	    cOperacao = 'S';
	    cFimPacote = '@';
	    sprintf(cMsg, "%c-%hu\n", cOperacao, resultadoInterrogacao.uiValorInterrogado);
	    HAL_UART_Transmit(&hlpuart1, (uint8_t *)cMsg, strlen(cMsg), HAL_MAX_DELAY);
	  	sprintf(cMsg, "%c-%hu\n", cFimPacote, 0x0000);
	  	HAL_UART_Transmit(&hlpuart1, (uint8_t *)cMsg, strlen(cMsg), HAL_MAX_DELAY);
	  }
	}
	else if (OPERACAO_CARACTERIZACAO == uiFlags)
	{ /*Transmissão dos dados da tarefa de caracterização da FBG sensora*/
	  status = osMessageQueueGet(filaCaracterizacaoHandle, &arrayCaracterizacao, NULL, 0U);
	  if (osOK == status)
	  {
	    cOperacao = 'C';
	    cFimPacote = '@';
	    for(uint8_t uiI = 0; arrayCaracterizacao.uiNumAmostrasColetadas > uiI; uiI++)
	    {
	      uint16_t uiData = arrayCaracterizacao.uiArrayAmostras[uiI];
	      if ('c' == arrayCaracterizacao.cSentidoVarredura)
	      {
	        uint16_t uiIndiceLocalVerdadeiro = uiI + arrayCaracterizacao.uiIndicePrimeiraAmostra;
	    	sprintf(cMsg, "%c-%hu-%hu\n", cOperacao, uiData, uiIndiceLocalVerdadeiro);
	      }
	      else
	      {
	    	uint16_t uiIndiceLocalVerdadeiro = arrayCaracterizacao.uiIndicePrimeiraAmostra - uiI;
	    	sprintf(cMsg, "%c-%hu-%hu\n", cOperacao, uiData, uiIndiceLocalVerdadeiro);
	      }
	      HAL_UART_Transmit(&hlpuart1, (uint8_t *)cMsg, strlen(cMsg), HAL_MAX_DELAY);
	    }
	    sprintf(cMsg, "%c-%hu-%hu\n", cFimPacote, 0x0000, 0x0000);
	    HAL_UART_Transmit(&hlpuart1, (uint8_t *)cMsg, strlen(cMsg), HAL_MAX_DELAY);
	    }
	}
	osDelay(1);
  }
  /* USER CODE END startTransmissaoDeDadosPC */
}

void HAL_TIM_PeriodElapsedCallback(TIM_HandleTypeDef *htim)
{
  /* USER CODE BEGIN Callback 0 */
/* ******************************************************/
/* Nome da ISR: Varredura Conversão A/D e D/A           */
/* Descrição da ISR:    Rotina de interrupção onde o    */
/*                      conversor D/A move o espectro   */
/*                      da fbg sintonizável e o conver- */
/*                      sor A/D captura os valores de   */
/*                      variação do espectro de potência*/
/*                      refletida pelas duas fbgs.      */
/* Parâmetros de entrada: não tem                       */
/*                                                      */
/* Parâmetros de saída: fila de mensagens dada por      */
/* filaVarreduraHandle onde são carregadas as Structs   */
/* arrayVarreduraCrescente e arrayVarreduraDecrescente  */
/* ******************************************************/
/* USER CODE END Header_StartVarreduraConversaoADeDA */
  if (&htim16 == htim)
  {
    HAL_GPIO_TogglePin(LD2_GPIO_Port, LD2_Pin);
	/*Declara variável auxiliar de aquisição de potência do sinal e inicializa contadores de número de amostras não nulas*/
	uint16_t uiPotenciaSinal, uiContCresc = 0, uiContDecresc = 0;
	/*Declara Structs dos dados de varredura crescente e decrescente*/
	DADOS_VARREDURA_OBJ_t arrayVarreduraCrescente, arrayVarreduraDecrescente;
	/*Inicializa o dado de indice da primeira amostra com um valor fixo acima dos existentes na varredura*/
	arrayVarreduraCrescente.uiIndicePrimeiraAmostra = FLAG_PRIMEIRA_AMOSTRA;
	arrayVarreduraDecrescente.uiIndicePrimeiraAmostra = FLAG_PRIMEIRA_AMOSTRA;
	/*Inicializa o dado de sentido da varredura com os caracteres que indicam com qual sentido da varredura a Struct irá trabalhar*/
	arrayVarreduraCrescente.cSentidoVarredura = 'c';
	arrayVarreduraDecrescente.cSentidoVarredura = 'd';
	/*Inicializa o Timer 17 */
	HAL_TIM_Base_Start(&htim17);
	/*Inicializa o módulo DAC*/
	HAL_DAC_Start(&hdac1, DAC_CHANNEL_1);
	/*Loop da varredura e inicialização das variáveis de controle, uiI conta de 0 até 8191*/
	for (uint16_t uiI = 0, uiK = 0, uiM = 4095; 2 * (RESOLUCAO_DAC) > uiI; uiI++)
    { /*Variável de controle uiI do loop no if abaixo verifica se a varredura ainda é crescente, caso maior que 4095 inicia a varredura decrescente*/
	  if (RESOLUCAO_DAC > uiI)
	  {/*Carrega o valor númerico da variável contadora uiK no conversor DA, observe que temos uma progressão em rampa crescente nos valores de uiK*/
	    HAL_DAC_SetValue(&hdac1, DAC_CHANNEL_1, DAC_ALIGN_12B_R, uiK);
	    /*Atraso implementado a partir do Timer 17 sendo utilizado como contador, prescaler configurado para cada contagem durar 1us, utilizado para aguardar resposta do arduino*/
	    __HAL_TIM_SET_COUNTER(&htim17,0);
	    while (__HAL_TIM_GET_COUNTER(&htim17) < DELAY_MICROSECONDS);
	    /*Inicializa conversor AD*/
	    HAL_ADC_Start(&hadc1);
	    HAL_ADC_PollForConversion(&hadc1, HAL_MAX_DELAY);
	  	/*Captura amostra do conversor AD*/
	  	uiPotenciaSinal = HAL_ADC_GetValue(&hadc1);
	  	/*É verificado se o valor de potência do sinal é maior do que 682 ou seja se é não nulo, pois DAC do arduino DUE tem offset de 0,55V e se uiArrayAmostras atingiu seu valor máximo*/
	    if (LIMIAR_POTENCIA_NULA < uiPotenciaSinal && TAM_ARRAY_AMOSTRAS > uiContCresc)
	  	{ /*Verifica flag de primeira amostra, se condição verdadeira armazena índice da primeira amostra não nula*/
	  	  if (FLAG_PRIMEIRA_AMOSTRA == arrayVarreduraCrescente.uiIndicePrimeiraAmostra)
	  	  {
	  	    arrayVarreduraCrescente.uiIndicePrimeiraAmostra = uiK;
	  	  }
	  	  /*Amostras de potencia não nulas são armazenadas no array do Struct */
	  	  arrayVarreduraCrescente.uiArrayAmostras[uiContCresc] = uiPotenciaSinal;
	  	  /*Variável contadora de amostras não nulas da varredura crescente é incrementada*/
	  	  uiContCresc++;
	  	}
	    uiK++;
	  }
	  else
	  { /*Varredura descrescente, código funciona de maneira análoga ao bloco anterior com a distinção que uiM é decrementado*/
	    HAL_DAC_SetValue(&hdac1, DAC_CHANNEL_1, DAC_ALIGN_12B_R, uiM);

	  	__HAL_TIM_SET_COUNTER(&htim17,0);
	  	while (__HAL_TIM_GET_COUNTER(&htim17) < DELAY_MICROSECONDS);

	    HAL_ADC_Start(&hadc1);
	  	HAL_ADC_PollForConversion(&hadc1, HAL_MAX_DELAY);
	  	uiPotenciaSinal = HAL_ADC_GetValue(&hadc1);
	  	if (LIMIAR_POTENCIA_NULA < uiPotenciaSinal && TAM_ARRAY_AMOSTRAS > uiContDecresc)
	  	{
	  	  if (FLAG_PRIMEIRA_AMOSTRA == arrayVarreduraDecrescente.uiIndicePrimeiraAmostra)
	  	  {
	  		arrayVarreduraDecrescente.uiIndicePrimeiraAmostra = uiM;
	  	  }
	  	  arrayVarreduraDecrescente.uiArrayAmostras[uiContDecresc] = uiPotenciaSinal;
	  	  uiContDecresc++;
	  	}
	    uiM--;
	  }

    } /*Structs das varreduras no sentido crescente e decrescente recebem a contagem de amostras coletas em cada varredura*/
	arrayVarreduraCrescente.uiNumAmostrasColetadas = uiContCresc;
	arrayVarreduraDecrescente.uiNumAmostrasColetadas = uiContDecresc;
	/*Fila de mensagem da varredura recebe dois structs, sendo as varreduras nos sentido crescente e decrescente*/
	osMessageQueuePut(filaVarreduraHandle, &arrayVarreduraCrescente, 0U, 0U);
	osMessageQueuePut(filaVarreduraHandle, &arrayVarreduraDecrescente, 0U, 0U);
  }
  /* USER CODE END Callback 0 */
  if (htim->Instance == TIM7) {
    HAL_IncTick();
  }
}

void Error_Handler(void)
{
}

/************************ (C) COPYRIGHT STMicroelectronics *****END OF FILE****/
